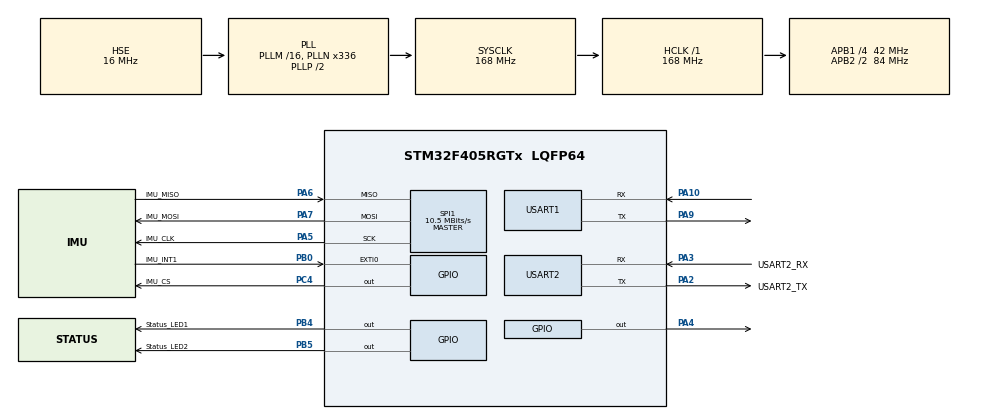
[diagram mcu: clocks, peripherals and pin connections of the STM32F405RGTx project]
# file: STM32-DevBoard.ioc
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Dma.Request0=USART2_RX
Dma.Request1=SPI1_RX
Dma.Request2=USART2_TX
Dma.SPI1_RX.1.Direction=DMA_PERIPH_TO_MEMORY
Dma.SPI1_RX.1.FIFOMode=DMA_FIFOMODE_ENABLE
Dma.SPI1_RX.1.FIFOThreshold=DMA_FIFO_THRESHOLD_FULL
Dma.SPI1_RX.1.Instance=DMA2_Stream0
Dma.SPI1_RX.1.MemBurst=DMA_MBURST_SINGLE
Dma.SPI1_RX.1.MemDataAlignment=DMA_MDATAALIGN_BYTE
Dma.SPI1_RX.1.MemInc=DMA_MINC_ENABLE
Dma.SPI1_RX.1.Mode=DMA_NORMAL
Dma.SPI1_RX.1.PeriphBurst=DMA_PBURST_SINGLE
Dma.SPI1_RX.1.PeriphDataAlignment=DMA_PDATAALIGN_BYTE
Dma.SPI1_RX.1.PeriphInc=DMA_PINC_DISABLE
Dma.SPI1_RX.1.Priority=DMA_PRIORITY_LOW
Dma.USART2_RX.0.Direction=DMA_PERIPH_TO_MEMORY
Dma.USART2_RX.0.FIFOMode=DMA_FIFOMODE_ENABLE
Dma.USART2_RX.0.FIFOThreshold=DMA_FIFO_THRESHOLD_FULL
Dma.USART2_RX.0.Instance=DMA1_Stream5
Dma.USART2_RX.0.MemBurst=DMA_MBURST_SINGLE
Dma.USART2_RX.0.MemDataAlignment=DMA_MDATAALIGN_BYTE
Dma.USART2_RX.0.MemInc=DMA_MINC_ENABLE
Dma.USART2_RX.0.Mode=DMA_NORMAL
Dma.USART2_RX.0.PeriphBurst=DMA_PBURST_SINGLE
Dma.USART2_RX.0.PeriphDataAlignment=DMA_PDATAALIGN_BYTE
Dma.USART2_RX.0.PeriphInc=DMA_PINC_DISABLE
Dma.USART2_RX.0.Priority=DMA_PRIORITY_MEDIUM
Dma.USART2_TX.2.Direction=DMA_MEMORY_TO_PERIPH
Dma.USART2_TX.2.FIFOMode=DMA_FIFOMODE_DISABLE
Dma.USART2_TX.2.Instance=DMA1_Stream6
Dma.USART2_TX.2.MemDataAlignment=DMA_MDATAALIGN_BYTE
Dma.USART2_TX.2.MemInc=DMA_MINC_ENABLE
Dma.USART2_TX.2.Mode=DMA_NORMAL
Dma.USART2_TX.2.PeriphDataAlignment=DMA_PDATAALIGN_BYTE
Dma.USART2_TX.2.PeriphInc=DMA_PINC_DISABLE
Dma.USART2_TX.2.Priority=DMA_PRIORITY_HIGH
FREERTOS.Tasks01=defaultTask,24,128,StartDefaultTask,Default,NULL,Dynamic,NULL,NULL;imu_acquisition,40,128,StartIMUTask,Default,NULL,Dynamic,NULL,NULL;pose_estimation,24,128,StartPose,Default,NULL,Dynamic,NULL,NULL;uart_send,8,128,StartSend,Default,NULL,Dynamic,NULL,NULL
FREERTOS.configENABLE_FPU=1
FREERTOS.configUSE_IDLE_HOOK=1
FREERTOS.configUSE_TICK_HOOK=1
Mcu.Family=STM32F4
Mcu.Name=STM32F405RGTx
Mcu.Package=LQFP64
NVIC.DMA1_Stream5_IRQn=true\:5\:0\:false\:false\:true\:true\:false\:true\:true
NVIC.DMA1_Stream6_IRQn=true\:5\:0\:false\:false\:true\:true\:false\:true\:true
NVIC.DMA2_Stream0_IRQn=true\:5\:0\:false\:false\:true\:true\:false\:true\:true
NVIC.EXTI0_IRQn=true\:7\:0\:true\:false\:true\:false\:true\:true\:true
NVIC.PriorityGroup=NVIC_PRIORITYGROUP_4
NVIC.TIM1_UP_TIM10_IRQn=true\:5\:0\:false\:false\:true\:true\:true\:true\:true
PA10.Mode=Asynchronous
PA10.Signal=USART1_RX
PA13.Mode=Trace_Asynchronous_SW
PA13.Signal=SYS_JTMS-SWDIO
PA14.Mode=Trace_Asynchronous_SW
PA14.Signal=SYS_JTCK-SWCLK
PA2.GPIO_Label=USART2_TX 
PA2.GPIO_ModeDefaultPP=GPIO_MODE_AF_PP
PA2.Mode=Asynchronous
PA2.Signal=USART2_TX
PA3.GPIO_Label=USART2_RX
PA3.GPIO_ModeDefaultPP=GPIO_MODE_AF_PP
PA3.Mode=Asynchronous
PA3.Signal=USART2_RX
PA4.Signal=GPIO_Output
PA5.GPIO_Label=IMU_CLK
PA5.Mode=Full_Duplex_Master
PA5.Signal=SPI1_SCK
PA6.GPIO_Label=IMU_MISO
PA6.Mode=Full_Duplex_Master
PA6.Signal=SPI1_MISO
PA7.GPIO_Label=IMU_MOSI
PA7.Mode=Full_Duplex_Master
PA7.Signal=SPI1_MOSI
PA9.Mode=Asynchronous
PA9.Signal=USART1_TX
PB0.GPIO_Label=IMU_INT1
PB0.GPIO_ModeDefaultEXTI=GPIO_MODE_IT_RISING_FALLING
PB0.Signal=GPXTI0
PB3.Mode=Trace_Asynchronous_SW
PB3.Signal=SYS_JTDO-SWO
PB4.GPIO_Label=Status_LED1
PB4.Signal=GPIO_Output
PB5.GPIO_Label=Status_LED2
PB5.Signal=GPIO_Output
PC4.GPIO_Label=IMU_CS
PC4.Signal=GPIO_Output
PH0-OSC_IN.Mode=HSE-External-Oscillator
PH0-OSC_IN.Signal=RCC_OSC_IN
PH1-OSC_OUT.Mode=HSE-External-Oscillator
PH1-OSC_OUT.Signal=RCC_OSC_OUT
ProjectManager.HeapSize=0x200
ProjectManager.StackSize=0x400
ProjectManager.TargetToolchain=STM32CubeIDE
RCC.48MHZClocksFreq_Value=48000000
RCC.AHBFreq_Value=168000000
RCC.APB1CLKDivider=RCC_HCLK_DIV4
RCC.APB1Freq_Value=42000000
RCC.APB1TimFreq_Value=84000000
RCC.APB2CLKDivider=RCC_HCLK_DIV2
RCC.APB2Freq_Value=84000000
RCC.APB2TimFreq_Value=168000000
RCC.CortexFreq_Value=168000000
RCC.HCLKFreq_Value=168000000
RCC.HSE_VALUE=16000000
RCC.HSI_VALUE=16000000
RCC.LSE_VALUE=32768
RCC.PLLN=336
RCC.PLLQ=7
RCC.PLLSourceVirtual=RCC_PLLSOURCE_HSE
RCC.SYSCLKFreq_VALUE=168000000
RCC.SYSCLKSource=RCC_SYSCLKSOURCE_PLLCLK
RCC.VCOOutputFreq_Value=336000000
SPI1.BaudRatePrescaler=SPI_BAUDRATEPRESCALER_8
SPI1.CLKPhase=SPI_PHASE_2EDGE
SPI1.CLKPolarity=SPI_POLARITY_HIGH
SPI1.CalculateBaudRate=10.5 MBits/s
SPI1.Direction=SPI_DIRECTION_2LINES
SPI1.Mode=SPI_MODE_MASTER
SPI1.VirtualType=VM_MASTER
TIM1.AutoReloadPreload=TIM_AUTORELOAD_PRELOAD_ENABLE
TIM1.Period=999
TIM1.Prescaler=167
TIM2.AutoReloadPreload=TIM_AUTORELOAD_PRELOAD_ENABLE
TIM2.Prescaler=83
USART1.VirtualMode=VM_ASYNC
USART2.VirtualMode=VM_ASYNC
VP_CRC_VS_CRC.Mode=CRC_Activate
VP_FREERTOS_VS_CMSIS_V2.Mode=CMSIS_V2
VP_TIM1_VS_ClockSourceINT.Mode=Internal
VP_TIM2_VS_ClockSourceINT.Mode=Internal
board=custom

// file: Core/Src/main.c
/* USER CODE BEGIN Header */
/**
  ******************************************************************************
  * @file           : main.c
  * @brief          : Main program body
  ******************************************************************************
  * @attention
  *
  * Copyright (c) 2023 STMicroelectronics.
  * All rights reserved.
  *
  * This software is licensed under terms that can be found in the LICENSE file
  * in the root directory of this software component.
  * If no LICENSE file comes with this software, it is provided AS-IS.
  *
  ******************************************************************************
  */
/* USER CODE END Header */
#include "main.h"
#include "cmsis_os.h"

/* USER CODE BEGIN Includes */
#include "icm42688p.h"
#include <common/mavlink.h>
#include "Fusion.h"
#include "time.h"
/* USER CODE END Includes */

/* USER CODE BEGIN PTD */
	// Define calibration (replace with actual calibration data if available)
	    const FusionMatrix gyroscopeMisalignment = {1.0f, 0.0f, 0.0f, 0.0f, 1.0f, 0.0f, 0.0f, 0.0f, 1.0f};
	    const FusionVector gyroscopeSensitivity = {1.0f, 1.0f, 1.0f};
	    const FusionVector gyroscopeOffset = {0.0f, 0.0f, 0.0f};
	    const FusionMatrix accelerometerMisalignment = {1.0f, 0.0f, 0.0f, 0.0f, 1.0f, 0.0f, 0.0f, 0.0f, 1.0f};
	    const FusionVector accelerometerSensitivity = {1.0f, 1.0f, 1.0f};
	    const FusionVector accelerometerOffset = {0.0f, 0.0f, 0.0f};
	    const FusionMatrix softIronMatrix = {1.0f, 0.0f, 0.0f, 0.0f, 1.0f, 0.0f, 0.0f, 0.0f, 1.0f};
	    const FusionVector hardIronOffset = {0.0f, 0.0f, 0.0f};
/* USER CODE END PTD */

/* USER CODE BEGIN PD */
ICM42688P_Data_t imudata;
#define IMU_DATA_SIZE 20 // 更新为 20 // Updated to 20
uint8_t imu_data_buffer[2][IMU_DATA_SIZE];
volatile uint8_t current_buffer_index = 0;
#define SAMPLE_RATE (100) // replace this with actual sample rate

// Initialise algorithms
FusionOffset offset;
FusionAhrs ahrs;
FusionEuler euler;

void GetPose(void);

/* USER CODE BEGIN PV */
uint8_t tx_data[] = "Hello from STM32 via DMA!\r\n";
uint8_t mavlink_tx_buffer[MAVLINK_MAX_PACKET_LEN];

/* USER CODE END PV */
/* USER CODE END PD */

CRC_HandleTypeDef hcrc;

SPI_HandleTypeDef hspi1;
DMA_HandleTypeDef hdma_spi1_rx;

TIM_HandleTypeDef htim1;
TIM_HandleTypeDef htim2;

UART_HandleTypeDef huart1;
UART_HandleTypeDef huart2;
DMA_HandleTypeDef hdma_usart2_rx;
DMA_HandleTypeDef hdma_usart2_tx;

/* Definitions for defaultTask */
osThreadId_t defaultTaskHandle;
const osThreadAttr_t defaultTask_attributes = {
  .name = "defaultTask",
  .stack_size = 2048,
  .priority = (osPriority_t) osPriorityNormal,
};
/* Definitions for imu_acquisition */
osThreadId_t imu_acquisitionHandle;
const osThreadAttr_t imu_acquisition_attributes = {
  .name = "imu_acquisition",
  .stack_size = 128 * 4,
  .priority = (osPriority_t) osPriorityHigh,
};
/* Definitions for pose_estimation */
osThreadId_t pose_estimationHandle;
const osThreadAttr_t pose_estimation_attributes = {
  .name = "pose_estimation",
  .stack_size = 128 * 4,
  .priority = (osPriority_t) osPriorityNormal,
};
/* Definitions for uart_send */
osThreadId_t uart_sendHandle;
const osThreadAttr_t uart_send_attributes = {
  .name = "uart_send",
  .stack_size = 128 * 4,
  .priority = (osPriority_t) osPriorityLow,
};

void SystemClock_Config(void);
static void MX_GPIO_Init(void);
static void MX_DMA_Init(void);
static void MX_SPI1_Init(void);
static void MX_USART1_UART_Init(void);
static void MX_USART2_UART_Init(void);
static void MX_CRC_Init(void);
static void MX_TIM1_Init(void);
static void MX_TIM2_Init(void);
void StartDefaultTask(void *argument);
void StartIMUTask(void *argument);
void StartPose(void *argument);
void StartSend(void *argument);

/* USER CODE BEGIN 0 */
uint32_t preCNT = 0;
uint32_t delCNT = 0;
uint32_t GetTimeUS_TIM(void);
// Interrupt-specific configuration

/* USER CODE END 0 */

int main(void)
{

  /* MCU Configuration--------------------------------------------------------*/

  /* Reset of all peripherals, Initializes the Flash interface and the Systick. */
  HAL_Init();

  /* Configure the system clock */
  SystemClock_Config();

  /* Initialize all configured peripherals */
  MX_GPIO_Init();
  MX_DMA_Init();
  MX_SPI1_Init();
  MX_USART1_UART_Init();
  MX_USART2_UART_Init();
  MX_CRC_Init();
  MX_TIM1_Init();
  MX_TIM2_Init();
  /* USER CODE BEGIN 2 */
  HAL_TIM_Base_Start_IT(&htim1);
  HAL_TIM_Base_Start(&htim2);

  // Initialize ICM42688P driver
  // 初始化ICM42688P驱动
  ICM42688P_Init();

  FusionOffsetInitialise(&offset, SAMPLE_RATE);
  FusionAhrsInitialise(&ahrs);

  // Set AHRS algorithm settings
  const FusionAhrsSettings settings = {
          .convention = FusionConventionNwu,
          .gain = 0.5f,
          .gyroscopeRange = 2000.0f, /* replace this with actual gyroscope range in degrees/s */
          .accelerationRejection = 10.0f,
          .magneticRejection = 10.0f,
          .recoveryTriggerPeriod = 5 * SAMPLE_RATE, /* 5 seconds */
  };
  FusionAhrsSetSettings(&ahrs, &settings);
  /* USER CODE END 2 */

  /* Init scheduler */
  osKernelInitialize();

  /* Create the thread(s) */
  /* creation of defaultTask */
  defaultTaskHandle = osThreadNew(StartDefaultTask, NULL, &defaultTask_attributes);

  /* creation of imu_acquisition */
  imu_acquisitionHandle = osThreadNew(StartIMUTask, NULL, &imu_acquisition_attributes);

  /* creation of pose_estimation */
  pose_estimationHandle = osThreadNew(StartPose, NULL, &pose_estimation_attributes);

  /* creation of uart_send */
  uart_sendHandle = osThreadNew(StartSend, NULL, &uart_send_attributes);

  /* Start scheduler */
  osKernelStart();

  /* We should never get here as control is now taken by the scheduler */

  /* Infinite loop */
  while (1)
  {

  }
}

void SystemClock_Config(void)
{
  RCC_OscInitTypeDef RCC_OscInitStruct = {0};
  RCC_ClkInitTypeDef RCC_ClkInitStruct = {0};

  /** Configure the main internal regulator output voltage
  */
  __HAL_RCC_PWR_CLK_ENABLE();
  __HAL_PWR_VOLTAGESCALING_CONFIG(PWR_REGULATOR_VOLTAGE_SCALE1);

  /** Initializes the RCC Oscillators according to the specified parameters
  * in the RCC_OscInitTypeDef structure.
  */
  RCC_OscInitStruct.OscillatorType = RCC_OSCILLATORTYPE_HSE;
  RCC_OscInitStruct.HSEState = RCC_HSE_ON;
  RCC_OscInitStruct.PLL.PLLState = RCC_PLL_ON;
  RCC_OscInitStruct.PLL.PLLSource = RCC_PLLSOURCE_HSE;
  RCC_OscInitStruct.PLL.PLLM = 16;
  RCC_OscInitStruct.PLL.PLLN = 336;
  RCC_OscInitStruct.PLL.PLLP = RCC_PLLP_DIV2;
  RCC_OscInitStruct.PLL.PLLQ = 7;
  if (HAL_RCC_OscConfig(&RCC_OscInitStruct) != HAL_OK)
  {
    Error_Handler();
  }

  /** Initializes the CPU, AHB and APB buses clocks
  */
  RCC_ClkInitStruct.ClockType = RCC_CLOCKTYPE_HCLK|RCC_CLOCKTYPE_SYSCLK
                              |RCC_CLOCKTYPE_PCLK1|RCC_CLOCKTYPE_PCLK2;
  RCC_ClkInitStruct.SYSCLKSource = RCC_SYSCLKSOURCE_PLLCLK;
  RCC_ClkInitStruct.AHBCLKDivider = RCC_SYSCLK_DIV1;
  RCC_ClkInitStruct.APB1CLKDivider = RCC_HCLK_DIV4;
  RCC_ClkInitStruct.APB2CLKDivider = RCC_HCLK_DIV2;

  if (HAL_RCC_ClockConfig(&RCC_ClkInitStruct, FLASH_LATENCY_5) != HAL_OK)
  {
    Error_Handler();
  }
}

static void MX_CRC_Init(void)
{

  hcrc.Instance = CRC;
  if (HAL_CRC_Init(&hcrc) != HAL_OK)
  {
    Error_Handler();
  }

}

static void MX_SPI1_Init(void)
{

  /* SPI1 parameter configuration*/
  hspi1.Instance = SPI1;
  hspi1.Init.Mode = SPI_MODE_MASTER;
  hspi1.Init.Direction = SPI_DIRECTION_2LINES;
  hspi1.Init.DataSize = SPI_DATASIZE_8BIT;
  hspi1.Init.CLKPolarity = SPI_POLARITY_HIGH;
  hspi1.Init.CLKPhase = SPI_PHASE_2EDGE;
  hspi1.Init.NSS = SPI_NSS_SOFT;
  hspi1.Init.BaudRatePrescaler = SPI_BAUDRATEPRESCALER_8;
  hspi1.Init.FirstBit = SPI_FIRSTBIT_MSB;
  hspi1.Init.TIMode = SPI_TIMODE_DISABLE;
  hspi1.Init.CRCCalculation = SPI_CRCCALCULATION_DISABLE;
  hspi1.Init.CRCPolynomial = 10;
  if (HAL_SPI_Init(&hspi1) != HAL_OK)
  {
    Error_Handler();
  }

}

static void MX_TIM1_Init(void)
{

  TIM_ClockConfigTypeDef sClockSourceConfig = {0};
  TIM_MasterConfigTypeDef sMasterConfig = {0};

  htim1.Instance = TIM1;
  htim1.Init.Prescaler = 167;
  htim1.Init.CounterMode = TIM_COUNTERMODE_UP;
  htim1.Init.Period = 9999;
  htim1.Init.ClockDivision = TIM_CLOCKDIVISION_DIV1;
  htim1.Init.RepetitionCounter = 0;
  htim1.Init.AutoReloadPreload = TIM_AUTORELOAD_PRELOAD_ENABLE;
  if (HAL_TIM_Base_Init(&htim1) != HAL_OK)
  {
    Error_Handler();
  }
  sClockSourceConfig.ClockSource = TIM_CLOCKSOURCE_INTERNAL;
  if (HAL_TIM_ConfigClockSource(&htim1, &sClockSourceConfig) != HAL_OK)
  {
    Error_Handler();
  }
  sMasterConfig.MasterOutputTrigger = TIM_TRGO_RESET;
  sMasterConfig.MasterSlaveMode = TIM_MASTERSLAVEMODE_DISABLE;
  if (HAL_TIMEx_MasterConfigSynchronization(&htim1, &sMasterConfig) != HAL_OK)
  {
    Error_Handler();
  }

}

static void MX_TIM2_Init(void)
{

  TIM_ClockConfigTypeDef sClockSourceConfig = {0};
  TIM_MasterConfigTypeDef sMasterConfig = {0};

  htim2.Instance = TIM2;
  htim2.Init.Prescaler = 83;
  htim2.Init.CounterMode = TIM_COUNTERMODE_UP;
  htim2.Init.Period = 4294967295;
  htim2.Init.ClockDivision = TIM_CLOCKDIVISION_DIV1;
  htim2.Init.AutoReloadPreload = TIM_AUTORELOAD_PRELOAD_ENABLE;
  if (HAL_TIM_Base_Init(&htim2) != HAL_OK)
  {
    Error_Handler();
  }
  sClockSourceConfig.ClockSource = TIM_CLOCKSOURCE_INTERNAL;
  if (HAL_TIM_ConfigClockSource(&htim2, &sClockSourceConfig) != HAL_OK)
  {
    Error_Handler();
  }
  sMasterConfig.MasterOutputTrigger = TIM_TRGO_RESET;
  sMasterConfig.MasterSlaveMode = TIM_MASTERSLAVEMODE_DISABLE;
  if (HAL_TIMEx_MasterConfigSynchronization(&htim2, &sMasterConfig) != HAL_OK)
  {
    Error_Handler();
  }

}

static void MX_USART1_UART_Init(void)
{

  huart1.Instance = USART1;
  huart1.Init.BaudRate = 115200;
  huart1.Init.WordLength = UART_WORDLENGTH_8B;
  huart1.Init.StopBits = UART_STOPBITS_1;
  huart1.Init.Parity = UART_PARITY_NONE;
  huart1.Init.Mode = UART_MODE_TX_RX;
  huart1.Init.HwFlowCtl = UART_HWCONTROL_NONE;
  huart1.Init.OverSampling = UART_OVERSAMPLING_16;
  if (HAL_UART_Init(&huart1) != HAL_OK)
  {
    Error_Handler();
  }

}

static void MX_USART2_UART_Init(void)
{

  huart2.Instance = USART2;
  huart2.Init.BaudRate = 115200;
  huart2.Init.WordLength = UART_WORDLENGTH_8B;
  huart2.Init.StopBits = UART_STOPBITS_1;
  huart2.Init.Parity = UART_PARITY_NONE;
  huart2.Init.Mode = UART_MODE_TX_RX;
  huart2.Init.HwFlowCtl = UART_HWCONTROL_NONE;
  huart2.Init.OverSampling = UART_OVERSAMPLING_16;
  if (HAL_UART_Init(&huart2) != HAL_OK)
  {
    Error_Handler();
  }

}

static void MX_DMA_Init(void)
{

  /* DMA controller clock enable */
  __HAL_RCC_DMA1_CLK_ENABLE();
  __HAL_RCC_DMA2_CLK_ENABLE();

  /* DMA interrupt init */
  /* DMA1_Stream5_IRQn interrupt configuration */
  HAL_NVIC_SetPriority(DMA1_Stream5_IRQn, 5, 0);
  HAL_NVIC_EnableIRQ(DMA1_Stream5_IRQn);
  /* DMA1_Stream6_IRQn interrupt configuration */
  HAL_NVIC_SetPriority(DMA1_Stream6_IRQn, 5, 0);
  HAL_NVIC_EnableIRQ(DMA1_Stream6_IRQn);
  /* DMA2_Stream0_IRQn interrupt configuration */
  HAL_NVIC_SetPriority(DMA2_Stream0_IRQn, 5, 0);
  HAL_NVIC_EnableIRQ(DMA2_Stream0_IRQn);

}

static void MX_GPIO_Init(void)
{
  GPIO_InitTypeDef GPIO_InitStruct = {0};

  /* GPIO Ports Clock Enable */
  __HAL_RCC_GPIOH_CLK_ENABLE();
  __HAL_RCC_GPIOA_CLK_ENABLE();
  __HAL_RCC_GPIOC_CLK_ENABLE();
  __HAL_RCC_GPIOB_CLK_ENABLE();

  /*Configure GPIO pin Output Level */
  HAL_GPIO_WritePin(GPIOA, GPIO_PIN_4, GPIO_PIN_RESET);

  /*Configure GPIO pin Output Level */
  HAL_GPIO_WritePin(IMU_CS_GPIO_Port, IMU_CS_Pin, GPIO_PIN_RESET);

  /*Configure GPIO pin Output Level */
  HAL_GPIO_WritePin(GPIOB, Status_LED1_Pin|Status_LED2_Pin, GPIO_PIN_RESET);

  /*Configure GPIO pin : PA4 */
  GPIO_InitStruct.Pin = GPIO_PIN_4;
  GPIO_InitStruct.Mode = GPIO_MODE_OUTPUT_PP;
  GPIO_InitStruct.Pull = GPIO_NOPULL;
  GPIO_InitStruct.Speed = GPIO_SPEED_FREQ_LOW;
  HAL_GPIO_Init(GPIOA, &GPIO_InitStruct);

  /*Configure GPIO pin : IMU_CS_Pin */
  GPIO_InitStruct.Pin = IMU_CS_Pin;
  GPIO_InitStruct.Mode = GPIO_MODE_OUTPUT_PP;
  GPIO_InitStruct.Pull = GPIO_NOPULL;
  GPIO_InitStruct.Speed = GPIO_SPEED_FREQ_LOW;
  HAL_GPIO_Init(IMU_CS_GPIO_Port, &GPIO_InitStruct);

  /*Configure GPIO pin : IMU_INT1_Pin */
  GPIO_InitStruct.Pin = IMU_INT1_Pin;
  GPIO_InitStruct.Mode = GPIO_MODE_IT_RISING_FALLING;
  GPIO_InitStruct.Pull = GPIO_NOPULL;
  HAL_GPIO_Init(IMU_INT1_GPIO_Port, &GPIO_InitStruct);

  /*Configure GPIO pins : Status_LED1_Pin Status_LED2_Pin */
  GPIO_InitStruct.Pin = Status_LED1_Pin|Status_LED2_Pin;
  GPIO_InitStruct.Mode = GPIO_MODE_OUTPUT_PP;
  GPIO_InitStruct.Pull = GPIO_NOPULL;
  GPIO_InitStruct.Speed = GPIO_SPEED_FREQ_LOW;
  HAL_GPIO_Init(GPIOB, &GPIO_InitStruct);

  /* EXTI interrupt init*/
  HAL_NVIC_SetPriority(EXTI0_IRQn, 7, 0);
  HAL_NVIC_EnableIRQ(EXTI0_IRQn);

}

/* USER CODE BEGIN 4 */
uint32_t GetTimeUS_TIM(void)
{
    return htim2.Instance->CNT;  // 每次读取当前时间(us)
	//return 0;
}
// TIM1 定时器中断回调函数
// TIM1 timer interrupt callback function

void HAL_TIM_PeriodElapsedCallback(TIM_HandleTypeDef *htim) {

  if (htim->Instance == TIM1) {

	//HAL_Delay(1);
    // 启动 SPI1 DMA 接收
    // Start SPI1 DMA reception
	//ICM42688P_Read_FIFO_DMA();

	  icm42688_read_all(&imudata);
	  GetPose();
	  //HAL_GPIO_TogglePin(GPIOB, GPIO_PIN_4);
  }

}

void HAL_SPI_TxRxCpltCallback(SPI_HandleTypeDef *hspi) {
  if (hspi->Instance == SPI1) {
    //BaseType_t xHigherPriorityTaskWoken = pdFALSE;
    Icm_CS_HIGH();

    // 释放信号量
    //xSemaphoreGiveFromISR(xImuDataReadySemaphore, &xHigherPriorityTaskWoken);
    //portYIELD_FROM_ISR(xHigherPriorityTaskWoken);
  }
}

/* USER CODE END 4 */

/* USER CODE BEGIN Header_StartDefaultTask */
void mavlink_send_heartbeat(void) {
    mavlink_message_t msg;
    mavlink_heartbeat_t heartbeat;

    heartbeat.type = MAV_TYPE_QUADROTOR;
    heartbeat.autopilot = MAV_AUTOPILOT_ARDUPILOTMEGA;
    heartbeat.base_mode = MAV_MODE_FLAG_CUSTOM_MODE_ENABLED;
    heartbeat.custom_mode = 0;
    heartbeat.system_status = MAV_STATE_ACTIVE;
    heartbeat.mavlink_version = 3;

    mavlink_msg_heartbeat_encode(1, 1, &msg, &heartbeat);

    uint16_t len = mavlink_msg_to_send_buffer(mavlink_tx_buffer, &msg);
    HAL_UART_Transmit(&huart2, mavlink_tx_buffer, len, HAL_MAX_DELAY);
}
void SendToPC(void){
	 //HAL_UART_Transmit_DMA(&huart2, tx_data, sizeof(tx_data) - 1);
    // 定义 Mavlink 消息和状态
    mavlink_message_t msg;
    uint16_t len;

    // 创建一个 Attitude 消息
    mavlink_attitude_t attitude;

    // 填充消息字段
    attitude.time_boot_ms = HAL_GetTick(); // 使用 HAL 库获取系统启动时间（毫秒）
    attitude.roll = euler.angle.roll;                   // 滚转角（弧度）
    attitude.pitch = euler.angle.pitch;                  // 俯仰角（弧度）
    attitude.yaw = euler.angle.yaw;                    // 偏航角（弧度）

    // 将 Attitude 消息打包成 Mavlink 消息
    // 参数: system_id, component_id, &msg, &attitude
    mavlink_msg_attitude_encode(1, 1, &msg, &attitude);

    // 将 Mavlink 消息序列化到缓冲区
    len = mavlink_msg_to_send_buffer(mavlink_tx_buffer, &msg);

    // 使用 HAL_UART_Transmit 发送数据
    // 假设你使用 USART2，其句柄为 &huart2
    //HAL_UART_Transmit(&huart2, tx_data, sizeof(tx_data) - 1, HAL_MAX_DELAY);

    HAL_UART_Transmit(&huart2, mavlink_tx_buffer, len, HAL_MAX_DELAY);

}
/**
  * @brief  Function implementing the defaultTask thread.
  * @param  argument: Not used
  * @retval None
  */
/* USER CODE END Header_StartDefaultTask */
void StartDefaultTask(void *argument)
{
  /* USER CODE BEGIN 5 */
  /* Infinite loop */
  for(;;)
  {
	  //HAL_UART_Transmit_DMA(&huart2, tx_data, sizeof(tx_data) - 1);
	  mavlink_send_heartbeat();
      osDelay(10);
	  SendToPC();
      osDelay(10);

  }
  /* USER CODE END 5 */
}

void StartIMUTask(void *argument)
{
  for(;;)
  {
    osDelay(1);
  }
}

/* USER CODE BEGIN Header_StartPose */
void GetPose(void){
	preCNT = GetTimeUS_TIM();
		  // Acquire latest sensor data
		          const clock_t timestamp = clock(); // replace this with actual gyroscope timestamp
		          FusionVector gyroscope = {imudata.gyro_x, imudata.gyro_y, imudata.gyro_z}; // replace this with actual gyroscope data in degrees/s
		          FusionVector accelerometer = {imudata.accel_x, imudata.accel_y, imudata.accel_z}; // replace this with actual accelerometer data in g

		          // Apply calibration
		          gyroscope = FusionCalibrationInertial(gyroscope, gyroscopeMisalignment, gyroscopeSensitivity, gyroscopeOffset);
		          accelerometer = FusionCalibrationInertial(accelerometer, accelerometerMisalignment, accelerometerSensitivity, accelerometerOffset);

		          // Update gyroscope offset correction algorithm
		          gyroscope = FusionOffsetUpdate(&offset, gyroscope);

		          // Calculate delta time (in seconds) to account for gyroscope sample clock error
		          static clock_t previousTimestamp;
		          const float deltaTime = (float) (timestamp - previousTimestamp) / (float) CLOCKS_PER_SEC;
		          previousTimestamp = timestamp;

		          // Update gyroscope AHRS algorithm
		          FusionAhrsUpdateNoMagnetometer(&ahrs, gyroscope, accelerometer, 0.01);

		          // Print algorithm outputs
		          euler = FusionQuaternionToEuler(FusionAhrsGetQuaternion(&ahrs));

	        	  delCNT = GetTimeUS_TIM()-preCNT;

}
/**
* @brief Function implementing the pose_estimation thread.
* @param argument: Not used
* @retval None
*/
/* USER CODE END Header_StartPose */
void StartPose(void *argument)
{
  for(;;)
  {
	  osDelay(1);
  }
}

void StartSend(void *argument)
{
  for(;;)
  {
    osDelay(1);
  }
}

void Error_Handler(void)
{
  __disable_irq();
  while (1)
  {
  }
}

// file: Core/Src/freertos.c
/* USER CODE BEGIN Header */
/**
  ******************************************************************************
  * File Name          : freertos.c
  * Description        : Code for freertos applications
  ******************************************************************************
  * @attention
  *
  * Copyright (c) 2025 STMicroelectronics.
  * All rights reserved.
  *
  * This software is licensed under terms that can be found in the LICENSE file
  * in the root directory of this software component.
  * If no LICENSE file comes with this software, it is provided AS-IS.
  *
  ******************************************************************************
  */
/* USER CODE END Header */

#include "FreeRTOS.h"
#include "task.h"
#include "main.h"

/* Hook prototypes */
void vApplicationIdleHook(void);
void vApplicationTickHook(void);

/* USER CODE BEGIN 2 */
void vApplicationIdleHook( void )
{
   /* vApplicationIdleHook() will only be called if configUSE_IDLE_HOOK is set
   to 1 in FreeRTOSConfig.h. It will be called on each iteration of the idle
   task. It is essential that code added to this hook function never attempts
   to block in any way (for example, call xQueueReceive() with a block time
   specified, or call vTaskDelay()). If the application makes use of the
   vTaskDelete() API function (as this demo application does) then it is also
   important that vApplicationIdleHook() is permitted to return to its calling
   function, because it is the responsibility of the idle task to clean up
   memory allocated by the kernel to any task that has since been deleted. */
}
/* USER CODE END 2 */

/* USER CODE BEGIN 3 */
void vApplicationTickHook( void )
{
   /* This function will be called by each tick interrupt if
   configUSE_TICK_HOOK is set to 1 in FreeRTOSConfig.h. User code can be
   added here, but the tick hook is called from an interrupt context, so
   code must not attempt to block, and only the interrupt safe FreeRTOS API
   functions can be used (those that end in FromISR()). */
}
/* USER CODE END 3 */
